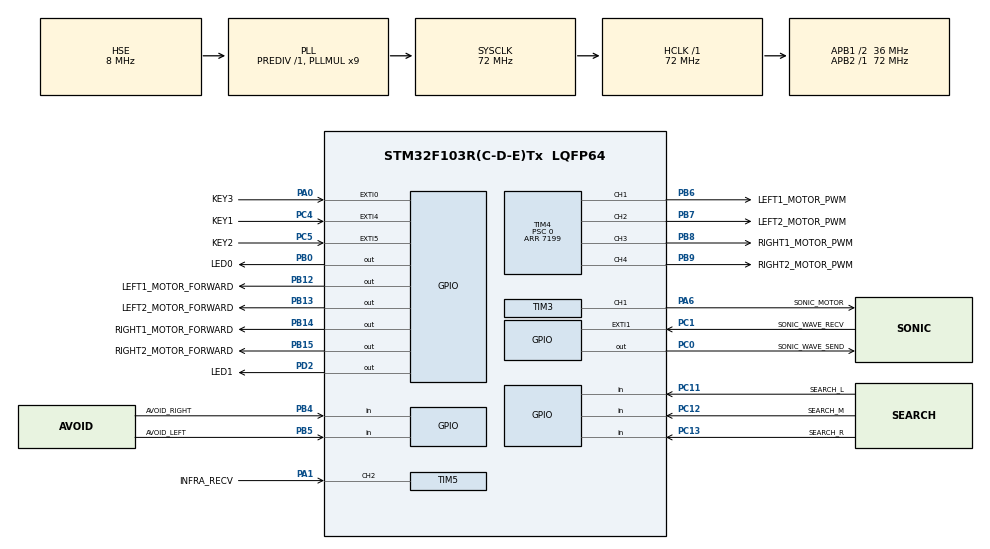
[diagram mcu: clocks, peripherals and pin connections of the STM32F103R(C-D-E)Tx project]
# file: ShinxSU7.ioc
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Mcu.Family=STM32F1
Mcu.Name=STM32F103R(C-D-E)Tx
Mcu.Package=LQFP64
NVIC.EXTI0_IRQn=true\:2\:0\:true\:false\:true\:true\:true\:true
NVIC.EXTI1_IRQn=true\:2\:1\:true\:false\:true\:true\:true\:true
NVIC.EXTI4_IRQn=true\:2\:2\:true\:false\:true\:true\:true\:true
NVIC.EXTI9_5_IRQn=true\:2\:3\:true\:false\:true\:true\:true\:true
NVIC.PriorityGroup=NVIC_PRIORITYGROUP_2
NVIC.TIM3_IRQn=true\:1\:0\:true\:false\:true\:true\:true\:true
NVIC.TIM4_IRQn=true\:1\:1\:true\:false\:true\:true\:true\:true
NVIC.TIM5_IRQn=true\:1\:2\:true\:false\:true\:true\:true\:true
PA0-WKUP.GPIO_Label=KEY3
PA0-WKUP.GPIO_ModeDefaultEXTI=GPIO_MODE_IT_RISING
PA0-WKUP.GPIO_PuPd=GPIO_PULLDOWN
PA0-WKUP.Signal=GPXTI0
PA1.GPIO_Label=INFRA_RECV
PA1.GPIO_PuPd=GPIO_PULLUP
PA1.Signal=S_TIM5_CH2
PA13.Mode=Serial_Wire
PA13.Signal=SYS_JTMS-SWDIO
PA14.Mode=Serial_Wire
PA14.Signal=SYS_JTCK-SWCLK
PA6.GPIO_Label=SONIC_MOTOR
PA6.GPIO_Speed=GPIO_SPEED_FREQ_HIGH
PA6.Signal=S_TIM3_CH1
PB0.GPIO_Label=LED0
PB0.GPIO_Speed=GPIO_SPEED_FREQ_HIGH
PB0.PinState=GPIO_PIN_SET
PB0.Signal=GPIO_Output
PB12.GPIO_Label=LEFT1_MOTOR_FORWARD
PB12.GPIO_Speed=GPIO_SPEED_FREQ_HIGH
PB12.Signal=GPIO_Output
PB13.GPIO_Label=LEFT2_MOTOR_FORWARD
PB13.GPIO_Speed=GPIO_SPEED_FREQ_HIGH
PB13.Signal=GPIO_Output
PB14.GPIO_Label=RIGHT1_MOTOR_FORWARD
PB14.GPIO_Speed=GPIO_SPEED_FREQ_HIGH
PB14.Signal=GPIO_Output
PB15.GPIO_Label=RIGHT2_MOTOR_FORWARD
PB15.GPIO_Speed=GPIO_SPEED_FREQ_HIGH
PB15.Signal=GPIO_Output
PB4.GPIO_Label=AVOID_RIGHT
PB4.GPIO_PuPd=GPIO_PULLUP
PB4.Signal=GPIO_Input
PB5.GPIO_Label=AVOID_LEFT
PB5.GPIO_PuPd=GPIO_PULLUP
PB5.Signal=GPIO_Input
PB6.GPIO_Label=LEFT1_MOTOR_PWM
PB6.GPIO_ModeDefaultPP=GPIO_MODE_AF_PP
PB6.GPIO_Speed=GPIO_SPEED_FREQ_HIGH
PB6.Signal=S_TIM4_CH1
PB7.GPIO_Label=LEFT2_MOTOR_PWM
PB7.GPIO_Speed=GPIO_SPEED_FREQ_HIGH
PB7.Signal=S_TIM4_CH2
PB8.GPIO_Label=RIGHT1_MOTOR_PWM
PB8.GPIO_Speed=GPIO_SPEED_FREQ_HIGH
PB8.Signal=S_TIM4_CH3
PB9.GPIO_Label=RIGHT2_MOTOR_PWM
PB9.GPIO_Speed=GPIO_SPEED_FREQ_HIGH
PB9.Signal=S_TIM4_CH4
PC0.GPIO_Label=SONIC_WAVE_SEND
PC0.GPIO_Speed=GPIO_SPEED_FREQ_HIGH
PC0.Signal=GPIO_Output
PC1.GPIO_Label=SONIC_WAVE_RECV
PC1.GPIO_ModeDefaultEXTI=GPIO_MODE_IT_RISING
PC1.GPIO_PuPd=GPIO_PULLDOWN
PC1.Signal=GPXTI1
PC11.GPIO_Label=SEARCH_L
PC11.GPIO_PuPd=GPIO_PULLUP
PC11.Signal=GPIO_Input
PC12.GPIO_Label=SEARCH_M
PC12.GPIO_PuPd=GPIO_PULLUP
PC12.Signal=GPIO_Input
PC13-TAMPER-RTC.GPIO_Label=SEARCH_R
PC13-TAMPER-RTC.GPIO_PuPd=GPIO_PULLUP
PC13-TAMPER-RTC.Signal=GPIO_Input
PC4.GPIO_Label=KEY1
PC4.GPIO_ModeDefaultEXTI=GPIO_MODE_IT_FALLING
PC4.GPIO_PuPd=GPIO_PULLUP
PC4.Signal=GPXTI4
PC5.GPIO_Label=KEY2
PC5.GPIO_ModeDefaultEXTI=GPIO_MODE_IT_FALLING
PC5.GPIO_PuPd=GPIO_PULLUP
PC5.Signal=GPXTI5
PD0-OSC_IN.Mode=HSE-External-Oscillator
PD0-OSC_IN.Signal=RCC_OSC_IN
PD1-OSC_OUT.Mode=HSE-External-Oscillator
PD1-OSC_OUT.Signal=RCC_OSC_OUT
PD2.GPIO_Label=LED1
PD2.GPIO_Speed=GPIO_SPEED_FREQ_HIGH
PD2.PinState=GPIO_PIN_SET
PD2.Signal=GPIO_Output
ProjectManager.HeapSize=0x200
ProjectManager.StackSize=0x400
ProjectManager.TargetToolchain=STM32CubeIDE
RCC.AHBFreq_Value=72000000
RCC.APB1CLKDivider=RCC_HCLK_DIV2
RCC.APB1Freq_Value=36000000
RCC.APB1TimFreq_Value=72000000
RCC.APB2Freq_Value=72000000
RCC.APB2TimFreq_Value=72000000
RCC.HCLKFreq_Value=72000000
RCC.PLLMUL=RCC_PLL_MUL9
RCC.PLLSourceVirtual=RCC_PLLSOURCE_HSE
RCC.SYSCLKFreq_VALUE=72000000
RCC.SYSCLKSource=RCC_SYSCLKSOURCE_PLLCLK
RCC.USBFreq_Value=72000000
SH.S_TIM3_CH1.0=TIM3_CH1,PWM Generation1 CH1
SH.S_TIM4_CH1.0=TIM4_CH1,PWM Generation1 CH1
SH.S_TIM4_CH2.0=TIM4_CH2,PWM Generation2 CH2
SH.S_TIM4_CH3.0=TIM4_CH3,PWM Generation3 CH3
SH.S_TIM4_CH4.0=TIM4_CH4,PWM Generation4 CH4
SH.S_TIM5_CH2.0=TIM5_CH2,Input_Capture2_from_TI2
TIM2.Period=4999
TIM2.Prescaler=7199
TIM3.Channel-PWM\ Generation1\ CH1=TIM_CHANNEL_1
TIM3.OCMode_PWM-PWM\ Generation1\ CH1=TIM_OCMODE_PWM1
TIM3.Period=9999
TIM3.Prescaler=143
TIM4.Channel-PWM\ Generation1\ CH1=TIM_CHANNEL_1
TIM4.Channel-PWM\ Generation2\ CH2=TIM_CHANNEL_2
TIM4.Channel-PWM\ Generation3\ CH3=TIM_CHANNEL_3
TIM4.Channel-PWM\ Generation4\ CH4=TIM_CHANNEL_4
TIM4.OCMode_PWM-PWM\ Generation1\ CH1=TIM_OCMODE_PWM2
TIM4.OCMode_PWM-PWM\ Generation2\ CH2=TIM_OCMODE_PWM2
TIM4.OCMode_PWM-PWM\ Generation3\ CH3=TIM_OCMODE_PWM2
TIM4.OCMode_PWM-PWM\ Generation4\ CH4=TIM_OCMODE_PWM2
TIM4.Period=7199
TIM4.Prescaler=0
TIM5.Channel-Input_Capture2_from_TI2=TIM_CHANNEL_2
TIM5.ICFilter_CH2=8
TIM5.ICPolarity_CH2=TIM_INPUTCHANNELPOLARITY_RISING
TIM5.Period=9999
TIM5.Prescaler=71
TIM5.TIM_MasterOutputTrigger=TIM_TRGO_UPDATE
VP_TIM2_VS_ClockSourceINT.Mode=Internal
VP_TIM3_VS_ClockSourceINT.Mode=Internal
VP_TIM4_VS_ClockSourceINT.Mode=Internal
VP_TIM5_VS_ClockSourceINT.Mode=Internal
board=custom

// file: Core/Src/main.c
/* USER CODE BEGIN Header */
/**
  ******************************************************************************
  * @file           : main.c
  * @brief          : Main program body
  ******************************************************************************
  * @attention
  *
  * Copyright (c) 2024 STMicroelectronics.
  * All rights reserved.
  *
  * This software is licensed under terms that can be found in the LICENSE file
  * in the root directory of this software component.
  * If no LICENSE file comes with this software, it is provided AS-IS.
  *
  ******************************************************************************
  */
/* USER CODE END Header */
#include "main.h"

/* USER CODE BEGIN Includes */
#include "sonic_motor.h"
#include "motor.h"
#include "infra.h"
/* USER CODE END Includes */

TIM_HandleTypeDef htim2;
TIM_HandleTypeDef htim3;
TIM_HandleTypeDef htim4;
TIM_HandleTypeDef htim5;

void SystemClock_Config(void);
static void MX_GPIO_Init(void);
static void MX_TIM4_Init(void);
static void MX_TIM5_Init(void);
static void MX_TIM3_Init(void);
static void MX_TIM2_Init(void);

int main(void)
{

  /* MCU Configuration--------------------------------------------------------*/

  /* Reset of all peripherals, Initializes the Flash interface and the Systick. */
  HAL_Init();

  /* Configure the system clock */
  SystemClock_Config();

  /* Initialize all configured peripherals */
  MX_GPIO_Init();
  MX_TIM4_Init();
  MX_TIM5_Init();
  MX_TIM3_Init();
  MX_TIM2_Init();
  /* USER CODE BEGIN 2 */
  // htim2: sonic wave reflection timer
  HAL_TIM_Base_Start_IT(&htim5); // infrared remote receive
  HAL_TIM_IC_Start_IT(&htim5, TIM_CHANNEL_2);
  HAL_TIM_PWM_Start(&htim4, TIM_CHANNEL_1); // wheels PWM
  HAL_TIM_PWM_Start(&htim4, TIM_CHANNEL_2);
  HAL_TIM_PWM_Start(&htim4, TIM_CHANNEL_3);
  HAL_TIM_PWM_Start(&htim4, TIM_CHANNEL_4);
  __HAL_TIM_SetCompare(&htim4, TIM_CHANNEL_1, 0);
  __HAL_TIM_SetCompare(&htim4, TIM_CHANNEL_2, 0);
  __HAL_TIM_SetCompare(&htim4, TIM_CHANNEL_3, 0);
  __HAL_TIM_SetCompare(&htim4, TIM_CHANNEL_4, 0);

  HAL_TIM_PWM_Start(&htim3, TIM_CHANNEL_1); // sonic wave motor PWM
  SetSonicMotor(90);

  MOTOR_STOP();
  /* USER CODE END 2 */

  /* Infinite loop */
  while (1)
  {

    /* USER CODE BEGIN 3 */
    uint8_t key;
    key=Remote_Scan();
    switch(key)
    {
      case 98:MOTOR_FORWARD(100);break;
      case 2: MOTOR_STOP();break;
      case 194:MOTOR_TURNR(100);break;
      case 34:MOTOR_TURNL(100);break;
      case 224:MOTOR_SPINL(100);break;
      case 168:MOTOR_BACK(100);break;
      case 144:MOTOR_SPINR(100);break;
    }
  }
  /* USER CODE END 3 */
}

void SystemClock_Config(void)
{
  RCC_OscInitTypeDef RCC_OscInitStruct = {0};
  RCC_ClkInitTypeDef RCC_ClkInitStruct = {0};

  /** Initializes the RCC Oscillators according to the specified parameters
  * in the RCC_OscInitTypeDef structure.
  */
  RCC_OscInitStruct.OscillatorType = RCC_OSCILLATORTYPE_HSE;
  RCC_OscInitStruct.HSEState = RCC_HSE_ON;
  RCC_OscInitStruct.HSEPredivValue = RCC_HSE_PREDIV_DIV1;
  RCC_OscInitStruct.HSIState = RCC_HSI_ON;
  RCC_OscInitStruct.PLL.PLLState = RCC_PLL_ON;
  RCC_OscInitStruct.PLL.PLLSource = RCC_PLLSOURCE_HSE;
  RCC_OscInitStruct.PLL.PLLMUL = RCC_PLL_MUL9;
  if (HAL_RCC_OscConfig(&RCC_OscInitStruct) != HAL_OK)
  {
    Error_Handler();
  }

  /** Initializes the CPU, AHB and APB buses clocks
  */
  RCC_ClkInitStruct.ClockType = RCC_CLOCKTYPE_HCLK|RCC_CLOCKTYPE_SYSCLK
                              |RCC_CLOCKTYPE_PCLK1|RCC_CLOCKTYPE_PCLK2;
  RCC_ClkInitStruct.SYSCLKSource = RCC_SYSCLKSOURCE_PLLCLK;
  RCC_ClkInitStruct.AHBCLKDivider = RCC_SYSCLK_DIV1;
  RCC_ClkInitStruct.APB1CLKDivider = RCC_HCLK_DIV2;
  RCC_ClkInitStruct.APB2CLKDivider = RCC_HCLK_DIV1;

  if (HAL_RCC_ClockConfig(&RCC_ClkInitStruct, FLASH_LATENCY_2) != HAL_OK)
  {
    Error_Handler();
  }
}

static void MX_TIM2_Init(void)
{

  TIM_ClockConfigTypeDef sClockSourceConfig = {0};
  TIM_MasterConfigTypeDef sMasterConfig = {0};

  htim2.Instance = TIM2;
  htim2.Init.Prescaler = 7199;
  htim2.Init.CounterMode = TIM_COUNTERMODE_UP;
  htim2.Init.Period = 4999;
  htim2.Init.ClockDivision = TIM_CLOCKDIVISION_DIV1;
  htim2.Init.AutoReloadPreload = TIM_AUTORELOAD_PRELOAD_DISABLE;
  if (HAL_TIM_Base_Init(&htim2) != HAL_OK)
  {
    Error_Handler();
  }
  sClockSourceConfig.ClockSource = TIM_CLOCKSOURCE_INTERNAL;
  if (HAL_TIM_ConfigClockSource(&htim2, &sClockSourceConfig) != HAL_OK)
  {
    Error_Handler();
  }
  sMasterConfig.MasterOutputTrigger = TIM_TRGO_RESET;
  sMasterConfig.MasterSlaveMode = TIM_MASTERSLAVEMODE_DISABLE;
  if (HAL_TIMEx_MasterConfigSynchronization(&htim2, &sMasterConfig) != HAL_OK)
  {
    Error_Handler();
  }

}

static void MX_TIM3_Init(void)
{

  TIM_ClockConfigTypeDef sClockSourceConfig = {0};
  TIM_MasterConfigTypeDef sMasterConfig = {0};
  TIM_OC_InitTypeDef sConfigOC = {0};

  htim3.Instance = TIM3;
  htim3.Init.Prescaler = 143;
  htim3.Init.CounterMode = TIM_COUNTERMODE_UP;
  htim3.Init.Period = 9999;
  htim3.Init.ClockDivision = TIM_CLOCKDIVISION_DIV1;
  htim3.Init.AutoReloadPreload = TIM_AUTORELOAD_PRELOAD_DISABLE;
  if (HAL_TIM_Base_Init(&htim3) != HAL_OK)
  {
    Error_Handler();
  }
  sClockSourceConfig.ClockSource = TIM_CLOCKSOURCE_INTERNAL;
  if (HAL_TIM_ConfigClockSource(&htim3, &sClockSourceConfig) != HAL_OK)
  {
    Error_Handler();
  }
  if (HAL_TIM_PWM_Init(&htim3) != HAL_OK)
  {
    Error_Handler();
  }
  sMasterConfig.MasterOutputTrigger = TIM_TRGO_RESET;
  sMasterConfig.MasterSlaveMode = TIM_MASTERSLAVEMODE_DISABLE;
  if (HAL_TIMEx_MasterConfigSynchronization(&htim3, &sMasterConfig) != HAL_OK)
  {
    Error_Handler();
  }
  sConfigOC.OCMode = TIM_OCMODE_PWM1;
  sConfigOC.Pulse = 0;
  sConfigOC.OCPolarity = TIM_OCPOLARITY_HIGH;
  sConfigOC.OCFastMode = TIM_OCFAST_DISABLE;
  if (HAL_TIM_PWM_ConfigChannel(&htim3, &sConfigOC, TIM_CHANNEL_1) != HAL_OK)
  {
    Error_Handler();
  }
  HAL_TIM_MspPostInit(&htim3);

}

static void MX_TIM4_Init(void)
{

  TIM_ClockConfigTypeDef sClockSourceConfig = {0};
  TIM_MasterConfigTypeDef sMasterConfig = {0};
  TIM_OC_InitTypeDef sConfigOC = {0};

  htim4.Instance = TIM4;
  htim4.Init.Prescaler = 0;
  htim4.Init.CounterMode = TIM_COUNTERMODE_UP;
  htim4.Init.Period = 7199;
  htim4.Init.ClockDivision = TIM_CLOCKDIVISION_DIV1;
  htim4.Init.AutoReloadPreload = TIM_AUTORELOAD_PRELOAD_DISABLE;
  if (HAL_TIM_Base_Init(&htim4) != HAL_OK)
  {
    Error_Handler();
  }
  sClockSourceConfig.ClockSource = TIM_CLOCKSOURCE_INTERNAL;
  if (HAL_TIM_ConfigClockSource(&htim4, &sClockSourceConfig) != HAL_OK)
  {
    Error_Handler();
  }
  if (HAL_TIM_PWM_Init(&htim4) != HAL_OK)
  {
    Error_Handler();
  }
  sMasterConfig.MasterOutputTrigger = TIM_TRGO_RESET;
  sMasterConfig.MasterSlaveMode = TIM_MASTERSLAVEMODE_DISABLE;
  if (HAL_TIMEx_MasterConfigSynchronization(&htim4, &sMasterConfig) != HAL_OK)
  {
    Error_Handler();
  }
  sConfigOC.OCMode = TIM_OCMODE_PWM2;
  sConfigOC.Pulse = 0;
  sConfigOC.OCPolarity = TIM_OCPOLARITY_HIGH;
  sConfigOC.OCFastMode = TIM_OCFAST_DISABLE;
  if (HAL_TIM_PWM_ConfigChannel(&htim4, &sConfigOC, TIM_CHANNEL_1) != HAL_OK)
  {
    Error_Handler();
  }
  if (HAL_TIM_PWM_ConfigChannel(&htim4, &sConfigOC, TIM_CHANNEL_2) != HAL_OK)
  {
    Error_Handler();
  }
  if (HAL_TIM_PWM_ConfigChannel(&htim4, &sConfigOC, TIM_CHANNEL_3) != HAL_OK)
  {
    Error_Handler();
  }
  if (HAL_TIM_PWM_ConfigChannel(&htim4, &sConfigOC, TIM_CHANNEL_4) != HAL_OK)
  {
    Error_Handler();
  }
  HAL_TIM_MspPostInit(&htim4);

}

static void MX_TIM5_Init(void)
{

  TIM_ClockConfigTypeDef sClockSourceConfig = {0};
  TIM_MasterConfigTypeDef sMasterConfig = {0};
  TIM_IC_InitTypeDef sConfigIC = {0};

  htim5.Instance = TIM5;
  htim5.Init.Prescaler = 71;
  htim5.Init.CounterMode = TIM_COUNTERMODE_UP;
  htim5.Init.Period = 9999;
  htim5.Init.ClockDivision = TIM_CLOCKDIVISION_DIV1;
  htim5.Init.AutoReloadPreload = TIM_AUTORELOAD_PRELOAD_DISABLE;
  if (HAL_TIM_Base_Init(&htim5) != HAL_OK)
  {
    Error_Handler();
  }
  sClockSourceConfig.ClockSource = TIM_CLOCKSOURCE_INTERNAL;
  if (HAL_TIM_ConfigClockSource(&htim5, &sClockSourceConfig) != HAL_OK)
  {
    Error_Handler();
  }
  if (HAL_TIM_IC_Init(&htim5) != HAL_OK)
  {
    Error_Handler();
  }
  sMasterConfig.MasterOutputTrigger = TIM_TRGO_UPDATE;
  sMasterConfig.MasterSlaveMode = TIM_MASTERSLAVEMODE_DISABLE;
  if (HAL_TIMEx_MasterConfigSynchronization(&htim5, &sMasterConfig) != HAL_OK)
  {
    Error_Handler();
  }
  sConfigIC.ICPolarity = TIM_INPUTCHANNELPOLARITY_RISING;
  sConfigIC.ICSelection = TIM_ICSELECTION_DIRECTTI;
  sConfigIC.ICPrescaler = TIM_ICPSC_DIV1;
  sConfigIC.ICFilter = 8;
  if (HAL_TIM_IC_ConfigChannel(&htim5, &sConfigIC, TIM_CHANNEL_2) != HAL_OK)
  {
    Error_Handler();
  }

}

static void MX_GPIO_Init(void)
{
  GPIO_InitTypeDef GPIO_InitStruct = {0};

  /* GPIO Ports Clock Enable */
  __HAL_RCC_GPIOC_CLK_ENABLE();
  __HAL_RCC_GPIOD_CLK_ENABLE();
  __HAL_RCC_GPIOA_CLK_ENABLE();
  __HAL_RCC_GPIOB_CLK_ENABLE();

  /*Configure GPIO pin Output Level */
  HAL_GPIO_WritePin(SONIC_WAVE_SEND_GPIO_Port, SONIC_WAVE_SEND_Pin, GPIO_PIN_RESET);

  /*Configure GPIO pin Output Level */
  HAL_GPIO_WritePin(LED0_GPIO_Port, LED0_Pin, GPIO_PIN_SET);

  /*Configure GPIO pin Output Level */
  HAL_GPIO_WritePin(GPIOB, LEFT1_MOTOR_FORWARD_Pin|LEFT2_MOTOR_FORWARD_Pin|RIGHT1_MOTOR_FORWARD_Pin|RIGHT2_MOTOR_FORWARD_Pin, GPIO_PIN_RESET);

  /*Configure GPIO pin Output Level */
  HAL_GPIO_WritePin(LED1_GPIO_Port, LED1_Pin, GPIO_PIN_SET);

  /*Configure GPIO pins : SEARCH_R_Pin SEARCH_L_Pin SEARCH_M_Pin */
  GPIO_InitStruct.Pin = SEARCH_R_Pin|SEARCH_L_Pin|SEARCH_M_Pin;
  GPIO_InitStruct.Mode = GPIO_MODE_INPUT;
  GPIO_InitStruct.Pull = GPIO_PULLUP;
  HAL_GPIO_Init(GPIOC, &GPIO_InitStruct);

  /*Configure GPIO pin : SONIC_WAVE_SEND_Pin */
  GPIO_InitStruct.Pin = SONIC_WAVE_SEND_Pin;
  GPIO_InitStruct.Mode = GPIO_MODE_OUTPUT_PP;
  GPIO_InitStruct.Pull = GPIO_NOPULL;
  GPIO_InitStruct.Speed = GPIO_SPEED_FREQ_HIGH;
  HAL_GPIO_Init(SONIC_WAVE_SEND_GPIO_Port, &GPIO_InitStruct);

  /*Configure GPIO pin : SONIC_WAVE_RECV_Pin */
  GPIO_InitStruct.Pin = SONIC_WAVE_RECV_Pin;
  GPIO_InitStruct.Mode = GPIO_MODE_IT_RISING;
  GPIO_InitStruct.Pull = GPIO_PULLDOWN;
  HAL_GPIO_Init(SONIC_WAVE_RECV_GPIO_Port, &GPIO_InitStruct);

  /*Configure GPIO pin : KEY3_Pin */
  GPIO_InitStruct.Pin = KEY3_Pin;
  GPIO_InitStruct.Mode = GPIO_MODE_IT_RISING;
  GPIO_InitStruct.Pull = GPIO_PULLDOWN;
  HAL_GPIO_Init(KEY3_GPIO_Port, &GPIO_InitStruct);

  /*Configure GPIO pins : KEY1_Pin KEY2_Pin */
  GPIO_InitStruct.Pin = KEY1_Pin|KEY2_Pin;
  GPIO_InitStruct.Mode = GPIO_MODE_IT_FALLING;
  GPIO_InitStruct.Pull = GPIO_PULLUP;
  HAL_GPIO_Init(GPIOC, &GPIO_InitStruct);

  /*Configure GPIO pins : LED0_Pin LEFT1_MOTOR_FORWARD_Pin LEFT2_MOTOR_FORWARD_Pin RIGHT1_MOTOR_FORWARD_Pin
                           RIGHT2_MOTOR_FORWARD_Pin */
  GPIO_InitStruct.Pin = LED0_Pin|LEFT1_MOTOR_FORWARD_Pin|LEFT2_MOTOR_FORWARD_Pin|RIGHT1_MOTOR_FORWARD_Pin
                          |RIGHT2_MOTOR_FORWARD_Pin;
  GPIO_InitStruct.Mode = GPIO_MODE_OUTPUT_PP;
  GPIO_InitStruct.Pull = GPIO_NOPULL;
  GPIO_InitStruct.Speed = GPIO_SPEED_FREQ_HIGH;
  HAL_GPIO_Init(GPIOB, &GPIO_InitStruct);

  /*Configure GPIO pin : LED1_Pin */
  GPIO_InitStruct.Pin = LED1_Pin;
  GPIO_InitStruct.Mode = GPIO_MODE_OUTPUT_PP;
  GPIO_InitStruct.Pull = GPIO_NOPULL;
  GPIO_InitStruct.Speed = GPIO_SPEED_FREQ_HIGH;
  HAL_GPIO_Init(LED1_GPIO_Port, &GPIO_InitStruct);

  /*Configure GPIO pins : AVOID_RIGHT_Pin AVOID_LEFT_Pin */
  GPIO_InitStruct.Pin = AVOID_RIGHT_Pin|AVOID_LEFT_Pin;
  GPIO_InitStruct.Mode = GPIO_MODE_INPUT;
  GPIO_InitStruct.Pull = GPIO_PULLUP;
  HAL_GPIO_Init(GPIOB, &GPIO_InitStruct);

  /* EXTI interrupt init*/
  HAL_NVIC_SetPriority(EXTI0_IRQn, 2, 0);
  HAL_NVIC_EnableIRQ(EXTI0_IRQn);

  HAL_NVIC_SetPriority(EXTI1_IRQn, 2, 1);
  HAL_NVIC_EnableIRQ(EXTI1_IRQn);

  HAL_NVIC_SetPriority(EXTI4_IRQn, 2, 2);
  HAL_NVIC_EnableIRQ(EXTI4_IRQn);

  HAL_NVIC_SetPriority(EXTI9_5_IRQn, 2, 3);
  HAL_NVIC_EnableIRQ(EXTI9_5_IRQn);

}

void Error_Handler(void)
{
  __disable_irq();
  while (1)
  {
  }
}
